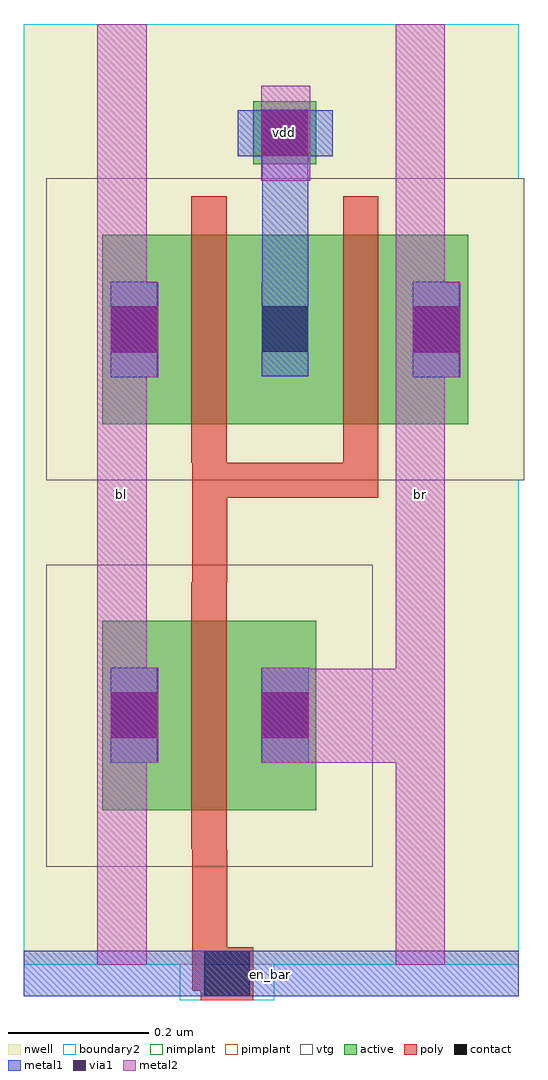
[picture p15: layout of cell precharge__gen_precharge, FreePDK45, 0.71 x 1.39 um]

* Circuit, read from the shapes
.subckt precharge__gen_precharge bl br en_bar vdd
M1 br en_bar bl vdd pfet w=0.27u l=0.05u
M2 vdd en_bar bl vdd pfet w=0.27u l=0.05u
M3 br en_bar vdd vdd pfet w=0.27u l=0.05u
.ends

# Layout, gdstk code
import gdstk
lib = gdstk.Library(unit=1e-6, precision=1e-09)
def R(c, l, rs):  # rectangles x0, y0, x1, y1
    for r in rs: c.add(gdstk.rectangle(r[:2], r[2:], *l))
active = (1, 0)
nwell = (3, 0)
nimplant = (4, 0)
pimplant = (5, 0)
vtg = (6, 0)
poly = (9, 0)
contact = (10, 0)
metal1 = (11, 0)
via1 = (12, 0)
metal2 = (13, 0)
boundary2 = (239, 0)

precharge__sram_1rw_32x1 = lib.new_cell('precharge__sram_1rw_32x16_freepdk45_contact_11')
R(precharge__sram_1rw_32x1, active, [(0,0.022,0.09,0.112)])
R(precharge__sram_1rw_32x1, nwell, [(-0.055,-0.033,0.145,0.168)])
R(precharge__sram_1rw_32x1, pimplant, [(0,0.022,0.09,0.112)])
R(precharge__sram_1rw_32x1, contact, [(0.013,0.035,0.077,0.1)])
R(precharge__sram_1rw_32x1, metal1, [(0.013,0,0.077,0.135)])
R(precharge__sram_1rw_32x1, boundary2, [(-0.055,-0.033,0.145,0.168)])

c_precharge__sram_1rw_32x1 = lib.new_cell('precharge__sram_1rw_32x16_freepdk45_pmos_m1_w0_270_sm1_dm1')
R(c_precharge__sram_1rw_32x1, active, [(0,0,0.305,0.27)])
R(c_precharge__sram_1rw_32x1, nwell, [(-0.08,-0.08,0.385,0.35)])
R(c_precharge__sram_1rw_32x1, pimplant, [(0,0,0.305,0.27)])
R(c_precharge__sram_1rw_32x1, vtg, [(-0.08,-0.08,0.385,0.35)])
R(c_precharge__sram_1rw_32x1, poly, [(0.127,-0.055,0.177,0.325), (0.127,-0.055,0.177,0.325)])
R(c_precharge__sram_1rw_32x1, metal1, [(0.013,0.068,0.077,0.203), (0.227,0.068,0.292,0.203)])
R(c_precharge__sram_1rw_32x1, boundary2, [(-0.08,-0.08,0.385,0.35)])
c_precharge__sram_1rw_32x1.add(gdstk.Reference(precharge__sram_1rw_32x1, (0,0.068)))
c_precharge__sram_1rw_32x1.add(gdstk.Reference(precharge__sram_1rw_32x1, (0.215,0.068)))
c_precharge__sram_1rw_32x1.add(gdstk.Label('G', (0.152,0.135), layer=9, texttype=0))
c_precharge__sram_1rw_32x1.add(gdstk.Label('S', (0.045,0.135), layer=11, texttype=0))
c_precharge__sram_1rw_32x1.add(gdstk.Label('D', (0.26,0.135), layer=11, texttype=0))

c_precharge__sram_1rw_32x1_ = lib.new_cell('precharge__sram_1rw_32x16_freepdk45_contact_14')
R(c_precharge__sram_1rw_32x1_, poly, [(0.03,0,0.105,0.075)])
R(c_precharge__sram_1rw_32x1_, contact, [(0.035,0.005,0.1,0.07)])
R(c_precharge__sram_1rw_32x1_, metal1, [(0,0.005,0.135,0.07)])
R(c_precharge__sram_1rw_32x1_, boundary2, [(0,0,0.135,0.075)])

c_precharge__sram_1rw_32x1__ = lib.new_cell('precharge__sram_1rw_32x16_freepdk45_contact_22')
R(c_precharge__sram_1rw_32x1__, active, [(0.022,0,0.112,0.09)])
R(c_precharge__sram_1rw_32x1__, nwell, [(-0.033,-0.055,0.168,0.145)])
R(c_precharge__sram_1rw_32x1__, nimplant, [(0.022,0,0.112,0.09)])
R(c_precharge__sram_1rw_32x1__, contact, [(0.035,0.013,0.1,0.077)])
R(c_precharge__sram_1rw_32x1__, metal1, [(0,0.013,0.135,0.077)])
R(c_precharge__sram_1rw_32x1__, boundary2, [(-0.033,-0.055,0.168,0.145)])

c_precharge__sram_1rw_32x1___ = lib.new_cell('precharge__sram_1rw_32x16_freepdk45_contact_17')
R(c_precharge__sram_1rw_32x1___, metal1, [(0,0.035,0.135,0.1)])
R(c_precharge__sram_1rw_32x1___, via1, [(0.035,0.035,0.1,0.1)])
R(c_precharge__sram_1rw_32x1___, metal2, [(0.033,0,0.103,0.135)])
R(c_precharge__sram_1rw_32x1___, boundary2, [(0,0,0.135,0.135)])

c_precharge__sram_1rw_32x1____ = lib.new_cell('precharge__sram_1rw_32x16_freepdk45_contact_23')
R(c_precharge__sram_1rw_32x1____, metal1, [(0.002,0,0.068,0.135)])
R(c_precharge__sram_1rw_32x1____, via1, [(0.002,0.035,0.068,0.1)])
R(c_precharge__sram_1rw_32x1____, metal2, [(0,0,0.07,0.135)])
R(c_precharge__sram_1rw_32x1____, boundary2, [(0,0,0.07,0.135)])

precharge__gen_precharge = lib.new_cell('precharge__gen_precharge')
R(precharge__gen_precharge, nwell, [(0,0,0.705,1.34)])
R(precharge__gen_precharge, poly, [(0.24,-0.037,0.29,0.013), (0.265,-0.037,0.29,0.013), (0.24,-0.013,0.29,0.165), (0.24,0.545,0.29,0.715), (0.24,0.665,0.505,0.715)])
R(precharge__gen_precharge, metal1, [(0,-0.045,0.705,0.02), (0.34,0.905,0.405,1.185), (0.34,1.153,0.405,1.218)])
R(precharge__gen_precharge, metal2, [(0.105,0,0.175,1.34), (0.105,0,0.175,1.34), (0.53,0,0.6,1.34), (0.53,0,0.6,1.34), (0.14,0.288,0.157,0.422), (0.372,0.288,0.565,0.422), (0.14,0.837,0.157,0.972), (0.565,0.837,0.588,0.972)])
R(precharge__gen_precharge, boundary2, [(0,0,0.705,1.34)])
precharge__gen_precharge.add(gdstk.Reference(c_precharge__sram_1rw_32x1, (0.112,0.22)))
precharge__gen_precharge.add(gdstk.Reference(c_precharge__sram_1rw_32x1, (0.112,0.77)))
precharge__gen_precharge.add(gdstk.Reference(c_precharge__sram_1rw_32x1, (0.328,0.77)))
precharge__gen_precharge.add(gdstk.Reference(c_precharge__sram_1rw_32x1_, (0.222,-0.05)))
precharge__gen_precharge.add(gdstk.Reference(c_precharge__sram_1rw_32x1__, (0.305,1.14)))
precharge__gen_precharge.add(gdstk.Reference(c_precharge__sram_1rw_32x1___, (0.305,1.117)))
precharge__gen_precharge.add(gdstk.Reference(c_precharge__sram_1rw_32x1____, (0.122,0.288)))
precharge__gen_precharge.add(gdstk.Reference(c_precharge__sram_1rw_32x1____, (0.338,0.288)))
precharge__gen_precharge.add(gdstk.Reference(c_precharge__sram_1rw_32x1____, (0.122,0.837)))
precharge__gen_precharge.add(gdstk.Reference(c_precharge__sram_1rw_32x1____, (0.552,0.837)))
precharge__gen_precharge.add(gdstk.Label('en_bar', (0.352,-0.013), layer=11, texttype=0))
precharge__gen_precharge.add(gdstk.Label('vdd', (0.372,1.185), layer=11, texttype=0))
precharge__gen_precharge.add(gdstk.Label('bl', (0.14,0.67), layer=13, texttype=0))
precharge__gen_precharge.add(gdstk.Label('br', (0.565,0.67), layer=13, texttype=0))

lib.write_gds('precharge__gen_precharge.gds')
